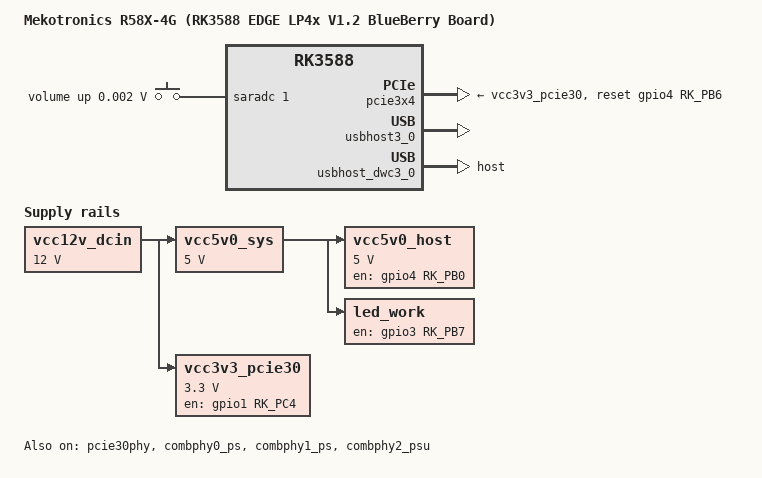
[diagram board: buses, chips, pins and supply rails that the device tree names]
// SPDX-License-Identifier: (GPL-2.0+ OR MIT)
/*
 * Copyright (c) 2021 Rockchip Electronics Co., Ltd
 *
 */

/dts-v1/;
#include "rk3588.dtsi"
#include "rk3588-u-boot.dtsi"
#include <dt-bindings/input/input.h>

/ {
	model = "Mekotronics R58X-4G (RK3588 EDGE LP4x V1.2 BlueBerry Board)";
	compatible = "rockchip,rk3588-blueberry-edge-v12-linux", "rockchip,rk3588";

	// This is needed for the RECOVERY button to actually trigger LOADER mode when pressed during boot
	adc-keys {
		compatible = "adc-keys";
		io-channels = <&saradc 1>;
		io-channel-names = "buttons";
		keyup-threshold-microvolt = <1800000>;
		u-boot,dm-pre-reloc;
		status = "okay";

		volumeup-key {
			u-boot,dm-pre-reloc;
			linux,code = <KEY_VOLUMEUP>;
			label = "volume up";
			press-threshold-microvolt = <1750>;
		};
	};

	vcc12v_dcin: vcc12v-dcin {
		u-boot,dm-pre-reloc;
		compatible = "regulator-fixed";
		regulator-name = "vcc12v_dcin";
		regulator-always-on;
		regulator-boot-on;
		regulator-min-microvolt = <12000000>;
		regulator-max-microvolt = <12000000>;
	};

	vcc5v0_sys: vcc5v0-sys {
		u-boot,dm-pre-reloc;
		compatible = "regulator-fixed";
		regulator-name = "vcc5v0_sys";
		regulator-always-on;
		regulator-boot-on;
		regulator-min-microvolt = <5000000>;
		regulator-max-microvolt = <5000000>;
		vin-supply = <&vcc12v_dcin>;
	};

	vcc5v0_host: vcc5v0-host-regulator {
		u-boot,dm-pre-reloc;
		compatible = "regulator-fixed";
		regulator-name = "vcc5v0_host";
		regulator-boot-on;
		regulator-always-on;
		regulator-min-microvolt = <5000000>;
		regulator-max-microvolt = <5000000>;
		enable-active-high;
		gpio = <&gpio4 RK_PB0 GPIO_ACTIVE_HIGH>;
		pinctrl-names = "default";
		pinctrl-0 = <&vcc5v0_host_en>;
		vin-supply = <&vcc5v0_sys>;
	};

	vcc3v3_pcie30: vcc3v3-pcie30 {
		u-boot,dm-pre-reloc;
		compatible = "regulator-fixed";
		regulator-name = "vcc3v3_pcie30";
		regulator-min-microvolt = <3300000>;
		regulator-max-microvolt = <3300000>;
		enable-active-high;
		gpio = <&gpio1 RK_PC4 GPIO_ACTIVE_HIGH>;    //hugsun gpio1_c4
		regulator-boot-on;
		regulator-always-on;
		startup-delay-us = <10000>;
		pinctrl-names = "default";
		pinctrl-0 = <&vcc3v3_pcie30_en>;
		vin-supply = <&vcc12v_dcin>;
	};

	/* work led is actually blue "PWR" LED and the powerbutton backlight LED */
	led_work: led_work {
		u-boot,dm-pre-reloc;
		compatible = "regulator-fixed";
		regulator-name = "led_work";
		enable-active-high;
		gpio = <&gpio3 RK_PB7 GPIO_ACTIVE_HIGH>; // Turn on work led
		regulator-boot-on;
		regulator-always-on;
		vin-supply = <&vcc5v0_sys>;
	};
};

&pcie3x4 {
	u-boot,dm-pre-reloc;
	vpcie3v3-supply = <&vcc3v3_pcie30>;
	reset-gpios = <&gpio4 RK_PB6 GPIO_ACTIVE_HIGH>;
	status = "okay";
};

&pcie30phy {
	u-boot,dm-pre-reloc;
	status = "okay";
};

&combphy0_ps {
	u-boot,dm-pre-reloc;
	status = "okay";
};

&combphy1_ps {
	u-boot,dm-pre-reloc;
	status = "okay";
};

&combphy2_psu {
	u-boot,dm-pre-reloc;
	status = "okay";
};

/* related to usbhost_dwc3_0 */
&usbhost3_0 {
	u-boot,dm-pre-reloc;
	status = "okay";
	maximum-speed = "super-speed";
};

/* related to usbhost3_0 */
&usbhost_dwc3_0 {
	u-boot,dm-pre-reloc;
	dr_mode = "host";
	status = "okay";
	maximum-speed = "super-speed";
};

&pinctrl {
	usb {
		u-boot,dm-pre-reloc;
		vcc5v0_host_en: vcc5v0-host-en {
			u-boot,dm-pre-reloc;
			rockchip,pins = <4 RK_PB0 RK_FUNC_GPIO &pcfg_pull_none>;
		};

	};

	pcie {
		u-boot,dm-spl;
		vcc3v3_pcie30_en: vcc3v3-pcie30-en {
			u-boot,dm-spl;
			rockchip,pins = <1 RK_PC4 RK_FUNC_GPIO &pcfg_pull_up>;
		};
	
	};
};

